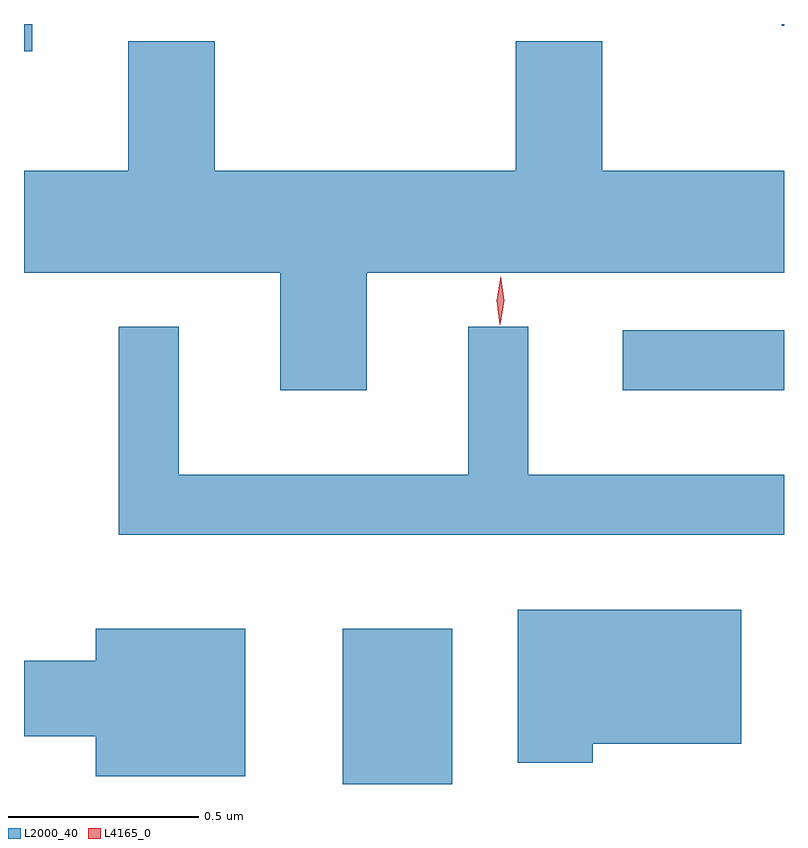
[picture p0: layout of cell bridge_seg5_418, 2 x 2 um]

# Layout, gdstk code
import gdstk
lib = gdstk.Library(unit=1e-6, precision=1e-09)
def R(c, l, rs):  # rectangles x0, y0, x1, y1
    for r in rs: c.add(gdstk.rectangle(r[:2], r[2:], *l))
def P(c, l, *ps):  # polygons
    for p in ps: c.add(gdstk.Polygon(p, *l))
L2000_40 = (2000, 40)
L4165_0 = (4165, 0)

bridge_seg5_418 = lib.new_cell('bridge_seg5_418')
R(bridge_seg5_418, L2000_40, [(544.136,1486.53,544.424,1486.939), (544.873,1487.566,545.297,1487.724), (543.297,1488.458,543.319,1488.53), (545.291,1488.526,545.297,1488.53)])
P(bridge_seg5_418, L2000_40, [(544.199,1487.876),(545.297,1487.876),(545.297,1488.144),(544.819,1488.144),(544.819,1488.484),(544.591,1488.484),(544.591,1488.144),(543.799,1488.144),(543.799,1488.484),(543.571,1488.484),(543.571,1488.144),(543.297,1488.144),(543.297,1487.876),(543.971,1487.876),(543.971,1487.566),(544.199,1487.566)],
  [(545.297,1487.344),(544.624,1487.344),(544.624,1487.733),(544.466,1487.733),(544.466,1487.344),(543.704,1487.344),(543.704,1487.733),(543.546,1487.733),(543.546,1487.186),(545.297,1487.186)],
  [(544.794,1486.636),(545.184,1486.636),(545.184,1486.989),(544.596,1486.989),(544.596,1486.586),(544.794,1486.586)],
  [(543.879,1486.939),(543.486,1486.939),(543.486,1486.854),(543.297,1486.854),(543.297,1486.656),(543.486,1486.656),(543.486,1486.551),(543.879,1486.551)])
P(bridge_seg5_418, L4165_0, [(544.549,1487.738),(544.541,1487.802),(544.551,1487.866),(544.552,1487.866),(544.552,1487.866),(544.561,1487.802),(544.55,1487.738),(544.55,1487.738)])

lib.write_gds('bridge_seg5_418.gds')
